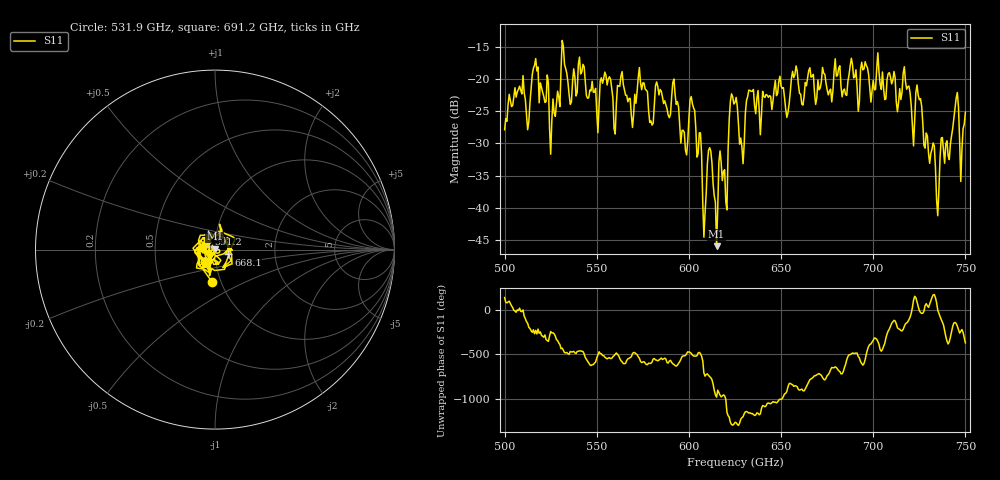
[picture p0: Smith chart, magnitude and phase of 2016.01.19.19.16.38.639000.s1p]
!Created with skrf (http://scikit-rf.org).
# GHz S RI R 50.0
!freq ReS11 ImS11
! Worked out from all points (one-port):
!   401 points, 500 GHz to 750 GHz, reference 50 ohm
!   lowest |S11| = -45.9 dB at 615 GHz (marker M1), VSWR 1.01, Z = 49.9 + j0.496 ohm
!   |S11| at or under -10 dB: start of sweep to end of sweep
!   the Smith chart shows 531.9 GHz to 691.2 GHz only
!   S11 on the Smith chart (normalised r, x): 531.9 GHz: 0.91, -0.33; 591.2 GHz: 0.91, +0.16; 668.1 GHz: 1.16, -0.06; 691.2 GHz: 0.90, -0.13
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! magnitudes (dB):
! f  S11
! 500 GHz  -27.9
! 512.5 GHz  -27.9
! 516.9 GHz  -16.8
! 525.6 GHz  -26.5
! 531.2 GHz  -14.0
! 531.9 GHz  -14.9
! 550 GHz  -25.1
! 562.5 GHz  -21.1
! 579.4 GHz  -26.5
! 591.2 GHz  -20.6
! 593.8 GHz  -23.5
! 598.1 GHz  -31.1
! 601.9 GHz  -23.8
! 608.1 GHz  -44.5
! 611.2 GHz  -30.7
! 615 GHz  -45.9
! 625 GHz  -23.6
! 628.8 GHz  -30.5
! 633.1 GHz  -21.8
! 656.2 GHz  -18.8
! 668.1 GHz  -22.0
! 687.5 GHz  -17.9
! 691.2 GHz  -21.3
! 718.8 GHz  -21.2
! 735 GHz  -41.2
! 745 GHz  -23.0
! 748.1 GHz  -30.9
! 750 GHz  -25.2
